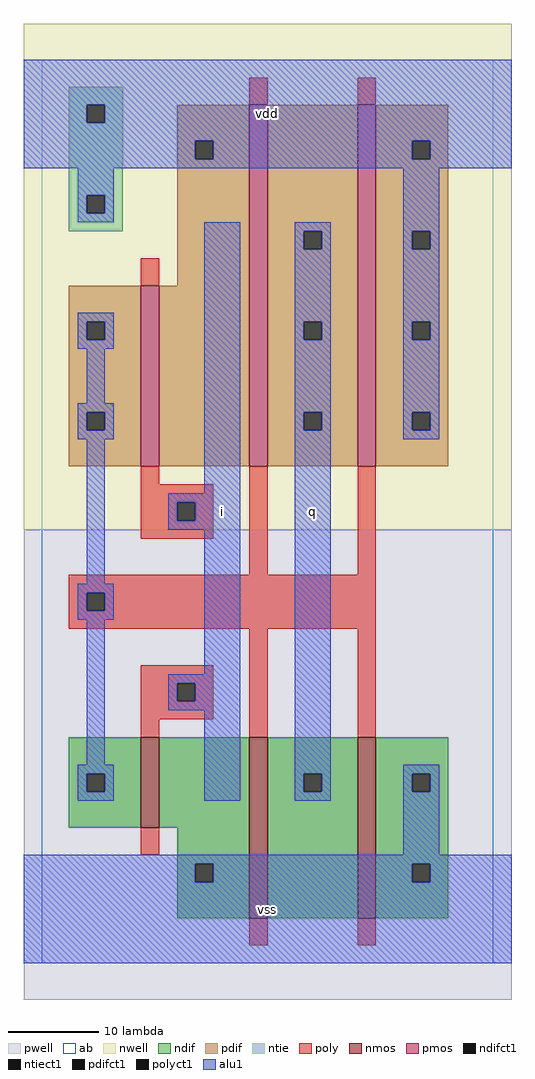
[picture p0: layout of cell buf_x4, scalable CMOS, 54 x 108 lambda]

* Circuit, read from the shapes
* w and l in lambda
.subckt buf_x4 i q vdd vss
M1 vss i n1 VSUBS nfet w=10 l=2
M2 q n1 vss VSUBS nfet w=20 l=2 m=2
M3 vdd i n1 vdd pfet w=20 l=2
M4 q n1 vdd vdd pfet w=40 l=2 m=2
.ends

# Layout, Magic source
magic
tech scmos
<< ab >>
rect 0 0 50 100
<< nwell >>
rect -2 48 52 104
<< pwell >>
rect -2 -4 52 48
<< poly >>
rect 23 95 25 98
rect 35 95 37 98
rect 11 75 13 78
rect 11 53 13 55
rect 11 51 19 53
rect 11 49 15 51
rect 17 49 19 51
rect 11 47 19 49
rect 23 43 25 55
rect 35 43 37 55
rect 3 41 37 43
rect 3 39 5 41
rect 7 39 37 41
rect 3 37 37 39
rect 11 31 19 33
rect 11 29 15 31
rect 17 29 19 31
rect 11 27 19 29
rect 11 25 13 27
rect 23 25 25 37
rect 35 25 37 37
rect 11 12 13 15
rect 23 2 25 5
rect 35 2 37 5
<< ndif >>
rect 3 21 11 25
rect 3 19 5 21
rect 7 19 11 21
rect 3 15 11 19
rect 13 15 23 25
rect 15 11 23 15
rect 15 9 17 11
rect 19 9 23 11
rect 15 5 23 9
rect 25 21 35 25
rect 25 19 29 21
rect 31 19 35 21
rect 25 5 35 19
rect 37 21 45 25
rect 37 19 41 21
rect 43 19 45 21
rect 37 11 45 19
rect 37 9 41 11
rect 43 9 45 11
rect 37 5 45 9
<< pdif >>
rect 15 91 23 95
rect 15 89 17 91
rect 19 89 23 91
rect 15 75 23 89
rect 3 71 11 75
rect 3 69 5 71
rect 7 69 11 71
rect 3 61 11 69
rect 3 59 5 61
rect 7 59 11 61
rect 3 55 11 59
rect 13 55 23 75
rect 25 81 35 95
rect 25 79 29 81
rect 31 79 35 81
rect 25 71 35 79
rect 25 69 29 71
rect 31 69 35 71
rect 25 61 35 69
rect 25 59 29 61
rect 31 59 35 61
rect 25 55 35 59
rect 37 91 45 95
rect 37 89 41 91
rect 43 89 45 91
rect 37 81 45 89
rect 37 79 41 81
rect 43 79 45 81
rect 37 71 45 79
rect 37 69 41 71
rect 43 69 45 71
rect 37 61 45 69
rect 37 59 41 61
rect 43 59 45 61
rect 37 55 45 59
<< alu1 >>
rect -2 95 52 100
rect -2 93 5 95
rect 7 93 52 95
rect -2 91 52 93
rect -2 89 17 91
rect 19 89 41 91
rect 43 89 52 91
rect -2 88 52 89
rect 4 85 8 88
rect 4 83 5 85
rect 7 83 8 85
rect 4 82 8 83
rect 4 71 8 72
rect 4 69 5 71
rect 7 69 8 71
rect 4 68 8 69
rect 5 62 7 68
rect 4 61 8 62
rect 4 59 5 61
rect 7 59 8 61
rect 4 58 8 59
rect 5 42 7 58
rect 18 52 22 82
rect 14 51 22 52
rect 14 49 15 51
rect 17 49 22 51
rect 14 48 22 49
rect 4 41 8 42
rect 4 39 5 41
rect 7 39 8 41
rect 4 38 8 39
rect 5 22 7 38
rect 18 32 22 48
rect 14 31 22 32
rect 14 29 15 31
rect 17 29 22 31
rect 14 28 22 29
rect 4 21 8 22
rect 4 19 5 21
rect 7 19 8 21
rect 4 18 8 19
rect 18 18 22 28
rect 28 81 32 82
rect 28 79 29 81
rect 31 79 32 81
rect 28 71 32 79
rect 28 69 29 71
rect 31 69 32 71
rect 28 61 32 69
rect 28 59 29 61
rect 31 59 32 61
rect 28 21 32 59
rect 40 81 44 88
rect 40 79 41 81
rect 43 79 44 81
rect 40 71 44 79
rect 40 69 41 71
rect 43 69 44 71
rect 40 61 44 69
rect 40 59 41 61
rect 43 59 44 61
rect 40 58 44 59
rect 28 19 29 21
rect 31 19 32 21
rect 28 18 32 19
rect 40 21 44 22
rect 40 19 41 21
rect 43 19 44 21
rect 40 12 44 19
rect -2 11 52 12
rect -2 9 17 11
rect 19 9 41 11
rect 43 9 52 11
rect -2 0 52 9
<< ntie >>
rect 3 95 9 97
rect 3 93 5 95
rect 7 93 9 95
rect 3 85 9 93
rect 3 83 5 85
rect 7 83 9 85
rect 3 81 9 83
<< nmos >>
rect 11 15 13 25
rect 23 5 25 25
rect 35 5 37 25
<< pmos >>
rect 11 55 13 75
rect 23 55 25 95
rect 35 55 37 95
<< polyct1 >>
rect 15 49 17 51
rect 5 39 7 41
rect 15 29 17 31
<< ndifct1 >>
rect 5 19 7 21
rect 17 9 19 11
rect 29 19 31 21
rect 41 19 43 21
rect 41 9 43 11
<< ntiect1 >>
rect 5 93 7 95
rect 5 83 7 85
<< pdifct1 >>
rect 17 89 19 91
rect 5 69 7 71
rect 5 59 7 61
rect 29 79 31 81
rect 29 69 31 71
rect 29 59 31 61
rect 41 89 43 91
rect 41 79 43 81
rect 41 69 43 71
rect 41 59 43 61
<< labels >>
rlabel alu1 20 50 20 50 6 i
rlabel alu1 25 6 25 6 6 vss
rlabel alu1 30 50 30 50 6 q
rlabel alu1 25 94 25 94 6 vdd
<< end >>
